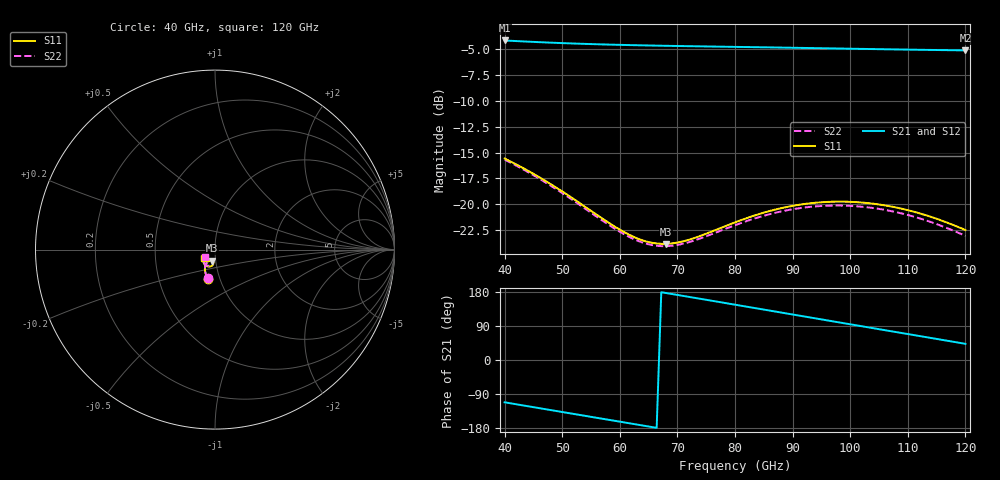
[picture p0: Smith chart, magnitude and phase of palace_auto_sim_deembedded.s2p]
! Created with skrf 1.11.0 (http://scikit-rf.org).
# GHz S DB R 50.0
!freq dBS11 angS11 dBS21 angS21 dBS12 angS12 dBS22 angS22
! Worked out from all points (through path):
!   101 points, 40 GHz to 120 GHz, reference 50 ohm
!   highest |S21| = -4.16 dB at 40 GHz (marker M1); lowest = -5.1 dB at 120 GHz (marker M2)
!   group delay of S21, straight-line fit = 7.14 ps
!   lowest |S11| = -23.8 dB at 68 GHz (marker M3), VSWR 1.14, Z = 47.9 - j5.94 ohm
!   |S11| at or under -10 dB: start of sweep to end of sweep
!   |S22| runs from -24.1 to -15.7 dB; largest |S21 - S12| = 9.7e-14
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40  -15.58 -103.6  -4.16 -111.6  -4.16 -111.6  -15.69 -103.8
43.2  -16.50 -109.5  -4.25 -119.9  -4.25 -119.9  -16.63 -109.7
47.2  -17.79 -115.6  -4.35 -130.1  -4.35 -130.1  -17.93 -116.0
53.6  -20.11 -121.4  -4.48 -146.4  -4.48 -146.4  -20.29 -121.9
57.6  -21.63 -121.4  -4.55 -156.6  -4.55 -156.6  -21.82 -121.9
61.6  -22.95 -117.6  -4.60 -166.8  -4.60 -166.8  -23.16 -118.2
64.8  -23.64 -112.2  -4.64 -175.0  -4.64 -175.0  -23.86 -112.8
67.2  -23.84 -107.5  -4.67 178.9  -4.67 178.9  -24.06 -108.3
68  -23.84 -106.0  -4.67 176.8  -4.67 176.8  -24.06 -106.8
70.4  -23.67 -101.9  -4.70 170.7  -4.70 170.7  -23.90 -102.7
73.6  -23.15 -98.0  -4.72 162.5  -4.72 162.5  -23.39 -99.0
80  -21.76 -96.8  -4.78 146.0  -4.78 146.0  -22.04 -98.1
84  -20.99 -99.4  -4.81 135.6  -4.81 135.6  -21.29 -100.9
87.2  -20.49 -102.7  -4.84 127.4  -4.84 127.4  -20.81 -104.3
90.4  -20.12 -106.7  -4.87 119.1  -4.87 119.1  -20.46 -108.4
93.6  -19.88 -111.1  -4.90 110.8  -4.90 110.8  -20.23 -112.9
96.8  -19.77 -115.7  -4.93 102.5  -4.93 102.5  -20.14 -117.7
100  -19.77 -120.5  -4.95 94.3  -4.95 94.3  -20.17 -122.6
103.2  -19.90 -125.2  -4.98 86.0  -4.98 86.0  -20.32 -127.4
107.2  -20.24 -130.7  -5.02 75.7  -5.02 75.7  -20.68 -133.2
113.6  -21.15 -138.4  -5.07 59.2  -5.07 59.2  -21.65 -141.0
120  -22.50 -143.0  -5.12 42.7  -5.12 42.7  -23.07 -145.7
